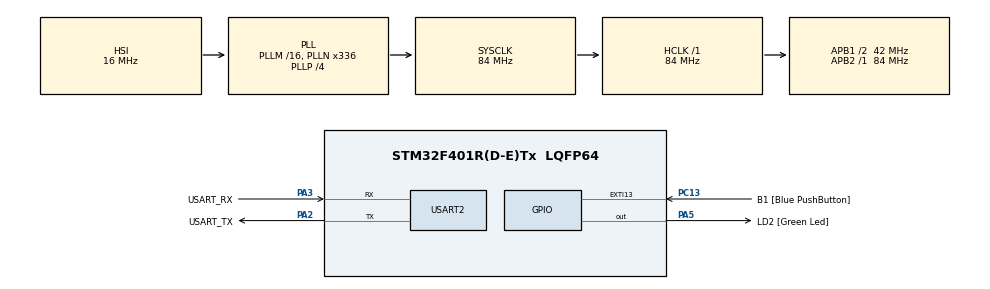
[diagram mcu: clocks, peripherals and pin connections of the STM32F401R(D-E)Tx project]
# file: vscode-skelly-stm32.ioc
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Mcu.Family=STM32F4
Mcu.Name=STM32F401R(D-E)Tx
Mcu.Package=LQFP64
NVIC.PriorityGroup=NVIC_PRIORITYGROUP_0
PA13.GPIO_Label=TMS
PA13.Mode=Serial_Wire
PA13.Signal=SYS_JTMS-SWDIO
PA14.GPIO_Label=TCK
PA14.Mode=Serial_Wire
PA14.Signal=SYS_JTCK-SWCLK
PA2.GPIO_Label=USART_TX
PA2.GPIO_Mode=GPIO_MODE_AF_PP
PA2.GPIO_PuPd=GPIO_NOPULL
PA2.GPIO_Speed=GPIO_SPEED_FREQ_LOW
PA2.Mode=Asynchronous
PA2.Signal=USART2_TX
PA3.GPIO_Label=USART_RX
PA3.GPIO_Mode=GPIO_MODE_AF_PP
PA3.GPIO_PuPd=GPIO_NOPULL
PA3.GPIO_Speed=GPIO_SPEED_FREQ_LOW
PA3.Mode=Asynchronous
PA3.Signal=USART2_RX
PA5.GPIO_Label=LD2 [Green Led]
PA5.GPIO_Mode=GPIO_MODE_OUTPUT_PP
PA5.GPIO_PuPd=GPIO_NOPULL
PA5.GPIO_Speed=GPIO_SPEED_FREQ_LOW
PA5.Signal=GPIO_Output
PB3.GPIO_Label=SWO
PB3.Signal=SYS_JTDO-SWO
PC13-ANTI_TAMP.GPIO_Label=B1 [Blue PushButton]
PC13-ANTI_TAMP.GPIO_ModeDefaultEXTI=GPIO_MODE_IT_FALLING
PC13-ANTI_TAMP.GPIO_PuPd=GPIO_NOPULL
PC13-ANTI_TAMP.Signal=GPXTI13
PC14-OSC32_IN.Mode=LSE-External-Oscillator
PC14-OSC32_IN.Signal=RCC_OSC32_IN
PC15-OSC32_OUT.Mode=LSE-External-Oscillator
PC15-OSC32_OUT.Signal=RCC_OSC32_OUT
PH0\ -\ OSC_IN.Mode=HSE-External-Clock-Source
PH0\ -\ OSC_IN.Signal=RCC_OSC_IN
PH1\ -\ OSC_OUT.Mode=HSE-External-Clock-Source
PH1\ -\ OSC_OUT.Signal=RCC_OSC_OUT
ProjectManager.HeapSize=0x200
ProjectManager.StackSize=0x400
ProjectManager.TargetToolchain=Makefile
RCC.48MHZClocksFreq_Value=48000000
RCC.AHBFreq_Value=84000000
RCC.APB1CLKDivider=RCC_HCLK_DIV2
RCC.APB1Freq_Value=42000000
RCC.APB1TimFreq_Value=84000000
RCC.APB2Freq_Value=84000000
RCC.APB2TimFreq_Value=84000000
RCC.CortexFreq_Value=84000000
RCC.HCLKFreq_Value=84000000
RCC.HSE_VALUE=8000000
RCC.HSI_VALUE=16000000
RCC.PLLN=336
RCC.PLLP=RCC_PLLP_DIV4
RCC.PLLQ=7
RCC.SYSCLKFreq_VALUE=84000000
RCC.SYSCLKSource=RCC_SYSCLKSOURCE_PLLCLK
RCC.VCOOutputFreq_Value=336000000
USART2.VirtualMode=VM_ASYNC
board=NUCLEO-F401RE

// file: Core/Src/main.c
/* USER CODE BEGIN Header */
/**
  ******************************************************************************
  * @file           : main.c
  * @brief          : Main program body
  ******************************************************************************
  * @attention
  *
  * <h2><center>&copy; Copyright (c) 2021 STMicroelectronics.
  * All rights reserved.</center></h2>
  *
  * This software component is licensed by ST under BSD 3-Clause license,
  * the "License"; You may not use this file except in compliance with the
  * License. You may obtain a copy of the License at:
  *                        opensource.org/licenses/BSD-3-Clause
  *
  ******************************************************************************
  */
/* USER CODE END Header */
#include "main.h"

#include <string.h>

/* USER CODE BEGIN Includes */
#include "SEGGER_RTT.h" // JTAG RTT Debugging
/* USER CODE END Includes */

/* USER CODE BEGIN PM */
#define debug_rtt_channel 0
#define debug_init() SEGGER_RTT_Init()
#define debug_printf(...) SEGGER_RTT_printf(debug_rtt_channel, __VA_ARGS__)
/* USER CODE END PM */

UART_HandleTypeDef huart2;

/* USER CODE BEGIN PV */
static const char print_msg[] = "I'm alive\n";

/* USER CODE END PV */

void SystemClock_Config(void);
static void MX_GPIO_Init(void);
static void MX_USART2_UART_Init(void);
/* USER CODE BEGIN PFP */
void debug_read(char* buff, uint16_t buff_size);
/* USER CODE END PFP */

int main(void)
{
  /* USER CODE BEGIN 1 */
  debug_init();
  debug_printf("System Start\r\n");
  /* USER CODE END 1 */

  /* MCU Configuration--------------------------------------------------------*/

  /* Reset of all peripherals, Initializes the Flash interface and the Systick. */
  HAL_Init();

  /* USER CODE BEGIN Init */
  debug_printf("HAL initialized\r\n");
  /* USER CODE END Init */

  /* Configure the system clock */
  SystemClock_Config();

  /* USER CODE BEGIN SysInit */
  debug_printf("System clock configured\r\n");
  /* USER CODE END SysInit */

  /* Initialize all configured peripherals */
  MX_GPIO_Init();
  MX_USART2_UART_Init();
  /* USER CODE BEGIN 2 */
  debug_printf("Hardware initialized\r\n");
  /* USER CODE END 2 */

  /* Infinite loop */
  /* USER CODE BEGIN WHILE */
  while (1)
  {
    /* Blink Board LED2 when button B1 is pressed */
    if (HAL_GPIO_ReadPin(B1_GPIO_Port, B1_Pin) == GPIO_PIN_RESET)
      HAL_GPIO_TogglePin(LD2_GPIO_Port, LD2_Pin);

    /* Send "I'm alive" message through UART each second */
    HAL_UART_Transmit(&huart2, (uint8_t*)(print_msg), strlen(print_msg), 100);
    HAL_Delay(1000);

    /* USER CODE END WHILE */

  }
}

void SystemClock_Config(void)
{
  RCC_OscInitTypeDef RCC_OscInitStruct = {0};
  RCC_ClkInitTypeDef RCC_ClkInitStruct = {0};

  /** Configure the main internal regulator output voltage
  */
  __HAL_RCC_PWR_CLK_ENABLE();
  __HAL_PWR_VOLTAGESCALING_CONFIG(PWR_REGULATOR_VOLTAGE_SCALE2);
  /** Initializes the RCC Oscillators according to the specified parameters
  * in the RCC_OscInitTypeDef structure.
  */
  RCC_OscInitStruct.OscillatorType = RCC_OSCILLATORTYPE_HSI;
  RCC_OscInitStruct.HSIState = RCC_HSI_ON;
  RCC_OscInitStruct.HSICalibrationValue = RCC_HSICALIBRATION_DEFAULT;
  RCC_OscInitStruct.PLL.PLLState = RCC_PLL_ON;
  RCC_OscInitStruct.PLL.PLLSource = RCC_PLLSOURCE_HSI;
  RCC_OscInitStruct.PLL.PLLM = 16;
  RCC_OscInitStruct.PLL.PLLN = 336;
  RCC_OscInitStruct.PLL.PLLP = RCC_PLLP_DIV4;
  RCC_OscInitStruct.PLL.PLLQ = 7;
  if (HAL_RCC_OscConfig(&RCC_OscInitStruct) != HAL_OK)
  {
    Error_Handler();
  }
  /** Initializes the CPU, AHB and APB buses clocks
  */
  RCC_ClkInitStruct.ClockType = RCC_CLOCKTYPE_HCLK|RCC_CLOCKTYPE_SYSCLK
                              |RCC_CLOCKTYPE_PCLK1|RCC_CLOCKTYPE_PCLK2;
  RCC_ClkInitStruct.SYSCLKSource = RCC_SYSCLKSOURCE_PLLCLK;
  RCC_ClkInitStruct.AHBCLKDivider = RCC_SYSCLK_DIV1;
  RCC_ClkInitStruct.APB1CLKDivider = RCC_HCLK_DIV2;
  RCC_ClkInitStruct.APB2CLKDivider = RCC_HCLK_DIV1;

  if (HAL_RCC_ClockConfig(&RCC_ClkInitStruct, FLASH_LATENCY_2) != HAL_OK)
  {
    Error_Handler();
  }
}

static void MX_USART2_UART_Init(void)
{

  huart2.Instance = USART2;
  huart2.Init.BaudRate = 115200;
  huart2.Init.WordLength = UART_WORDLENGTH_8B;
  huart2.Init.StopBits = UART_STOPBITS_1;
  huart2.Init.Parity = UART_PARITY_NONE;
  huart2.Init.Mode = UART_MODE_TX_RX;
  huart2.Init.HwFlowCtl = UART_HWCONTROL_NONE;
  huart2.Init.OverSampling = UART_OVERSAMPLING_16;
  if (HAL_UART_Init(&huart2) != HAL_OK)
  {
    Error_Handler();
  }

}

static void MX_GPIO_Init(void)
{
  GPIO_InitTypeDef GPIO_InitStruct = {0};

  /* GPIO Ports Clock Enable */
  __HAL_RCC_GPIOC_CLK_ENABLE();
  __HAL_RCC_GPIOH_CLK_ENABLE();
  __HAL_RCC_GPIOA_CLK_ENABLE();
  __HAL_RCC_GPIOB_CLK_ENABLE();

  /*Configure GPIO pin Output Level */
  HAL_GPIO_WritePin(LD2_GPIO_Port, LD2_Pin, GPIO_PIN_RESET);

  /*Configure GPIO pin : B1_Pin */
  GPIO_InitStruct.Pin = B1_Pin;
  GPIO_InitStruct.Mode = GPIO_MODE_IT_FALLING;
  GPIO_InitStruct.Pull = GPIO_NOPULL;
  HAL_GPIO_Init(B1_GPIO_Port, &GPIO_InitStruct);

  /*Configure GPIO pin : LD2_Pin */
  GPIO_InitStruct.Pin = LD2_Pin;
  GPIO_InitStruct.Mode = GPIO_MODE_OUTPUT_PP;
  GPIO_InitStruct.Pull = GPIO_NOPULL;
  GPIO_InitStruct.Speed = GPIO_SPEED_FREQ_LOW;
  HAL_GPIO_Init(LD2_GPIO_Port, &GPIO_InitStruct);

}

/* USER CODE BEGIN 4 */

/**
 * @details
 * This function wait for incoming characters from Segger RTT interface and
 * read it into provided array.
 */
void debug_read(char* buff, uint16_t buff_size)
{
    char c = '\0';

    while ((c != '\n') && (buff_size > 1U))
    {
        if (SEGGER_RTT_HasKey())
        {
            *buff++ = (char)(SEGGER_RTT_GetKey());
            buff_size = (uint16_t)(buff_size - 1U);
        }
    }
    *buff = '\0';
}

/* USER CODE END 4 */

void Error_Handler(void)
{
  __disable_irq();
  while (1)
  {
  }
}

/************************ (C) COPYRIGHT STMicroelectronics *****END OF FILE****/
